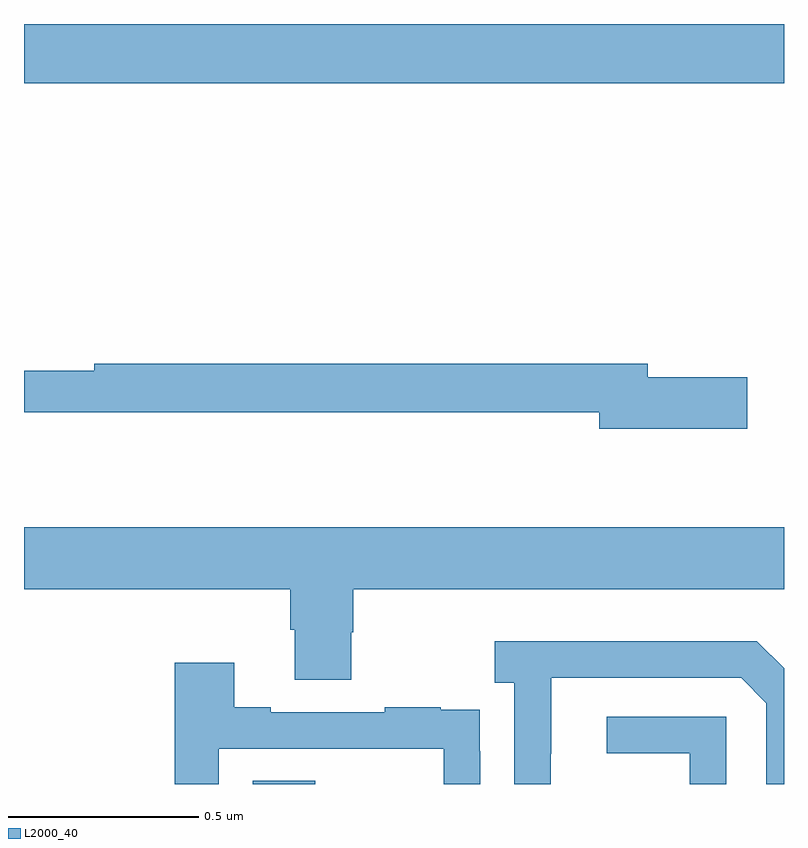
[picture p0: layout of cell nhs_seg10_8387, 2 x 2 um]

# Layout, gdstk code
import gdstk
lib = gdstk.Library(unit=1e-6, precision=1e-09)
def R(c, l, rs):  # rectangles x0, y0, x1, y1
    for r in rs: c.add(gdstk.rectangle(r[:2], r[2:], *l))
def P(c, l, *ps):  # polygons
    for p in ps: c.add(gdstk.Polygon(p, *l))
L2000_40 = (2000, 40)

nhs_seg10_8387 = lib.new_cell('nhs_seg10_8387')
R(nhs_seg10_8387, L2000_40, [(216.602,1270.5,216.766,1270.508), (216,1272.344,218,1272.5)])
P(nhs_seg10_8387, L2000_40, [(217.903,1271.57),(217.642,1271.57),(217.642,1271.606),(216.185,1271.606),(216.185,1271.588),(216,1271.588),(216,1271.478),(217.514,1271.478),(217.514,1271.435),(217.903,1271.435)],
  [(216.861,1270.899),(216.866,1270.899),(216.866,1271.012),(218,1271.012),(218,1271.176),(216,1271.176),(216,1271.012),(216.701,1271.012),(216.701,1270.906),(216.713,1270.906),(216.713,1270.774),(216.861,1270.774)],
  [(217.386,1270.579),(217.387,1270.579),(217.387,1270.779),(217.887,1270.779),(217.953,1270.713),(217.953,1270.5),(218,1270.5),(218,1270.804),(217.928,1270.876),(217.239,1270.876),(217.239,1270.766),(217.29,1270.766),(217.29,1270.5),(217.386,1270.5)],
  [(216.513,1270.593),(217.104,1270.593),(217.104,1270.5),(217.2,1270.5),(217.2,1270.586),(217.199,1270.586),(217.199,1270.695),(217.097,1270.695),(217.097,1270.702),(216.949,1270.702),(216.949,1270.689),(216.649,1270.689),(216.649,1270.702),(216.553,1270.702),(216.553,1270.819),(216.397,1270.819),(216.397,1270.5),(216.513,1270.5)],
  [(217.848,1270.677),(217.533,1270.677),(217.533,1270.581),(217.752,1270.581),(217.752,1270.5),(217.848,1270.5)])

lib.write_gds('nhs_seg10_8387.gds')
